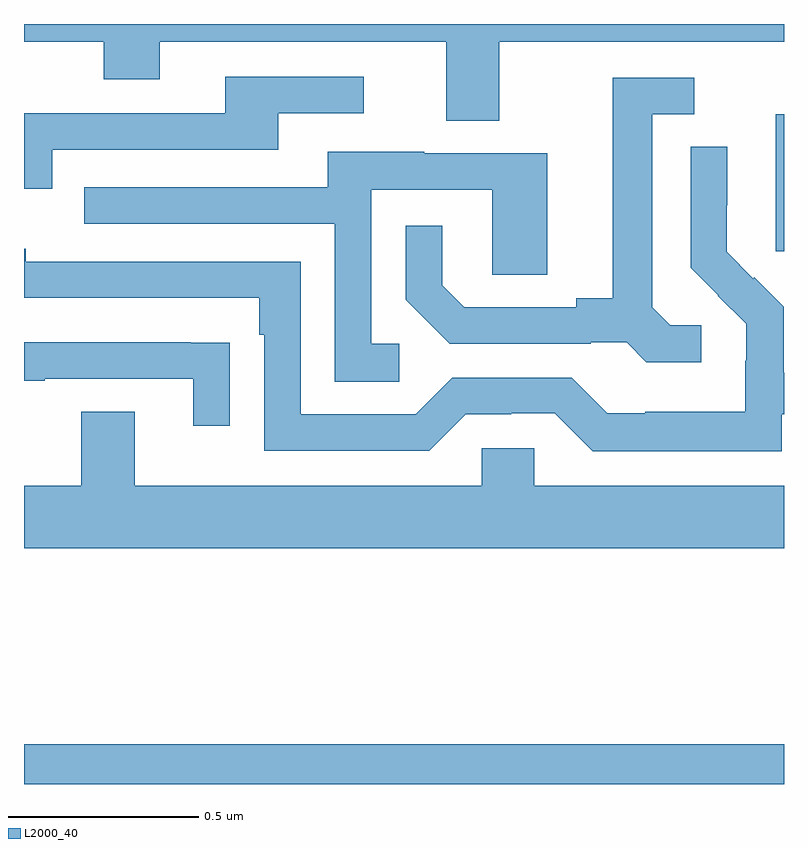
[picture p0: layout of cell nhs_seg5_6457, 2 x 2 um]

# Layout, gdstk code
import gdstk
lib = gdstk.Library(unit=1e-6, precision=1e-09)
def R(c, l, rs):  # rectangles x0, y0, x1, y1
    for r in rs: c.add(gdstk.rectangle(r[:2], r[2:], *l))
def P(c, l, *ps):  # polygons
    for p in ps: c.add(gdstk.Polygon(p, *l))
L2000_40 = (2000, 40)

nhs_seg5_6457 = lib.new_cell('nhs_seg5_6457')
R(nhs_seg5_6457, L2000_40, [(196,862.799,198,862.904), (197.978,864.201,198,864.562)])
P(nhs_seg5_6457, L2000_40, [(197.251,864.752),(198,864.752),(198,864.799),(196,864.799),(196,864.752),(196.21,864.752),(196.21,864.653),(196.357,864.653),(196.357,864.752),(197.111,864.752),(197.111,864.544),(197.251,864.544)],
  [(196.074,864.468),(196.669,864.468),(196.669,864.564),(196.894,864.564),(196.894,864.66),(196.529,864.66),(196.529,864.564),(196,864.564),(196,864.365),(196.074,864.365)],
  [(197.782,864.006),(197.7,864.006),(197.653,864.053),(197.653,864.561),(197.764,864.561),(197.764,864.657),(197.549,864.657),(197.549,864.077),(197.453,864.077),(197.453,864.054),(197.158,864.054),(197.101,864.111),(197.101,864.268),(197.004,864.268),(197.004,864.074),(197.12,863.958),(197.492,863.958),(197.492,863.961),(197.586,863.961),(197.638,863.909),(197.782,863.909)],
  [(197.994,863.772),(198,863.772),(198,863.881),(197.999,863.881),(197.999,864.055),(197.922,864.132),(197.919,864.129),(197.849,864.2),(197.849,864.322),(197.85,864.322),(197.85,864.476),(197.754,864.476),(197.754,864.158),(197.827,864.085),(197.826,864.084),(197.9,864.01),(197.9,863.913),(197.898,863.913),(197.898,863.779),(197.635,863.779),(197.635,863.775),(197.535,863.775),(197.442,863.868),(197.127,863.868),(197.031,863.772),(196.728,863.772),(196.728,864.174),(196.004,864.174),(196.004,864.208),(196,864.208),(196,864.078),(196.619,864.078),(196.619,863.981),(196.632,863.981),(196.632,863.676),(197.067,863.676),(197.163,863.772),(197.282,863.772),(197.282,863.775),(197.397,863.775),(197.497,863.675),(197.994,863.675)],
  [(196.987,863.958),(196.914,863.958),(196.914,864.363),(197.232,864.363),(197.232,864.139),(197.377,864.139),(197.377,864.459),(197.053,864.459),(197.053,864.463),(196.799,864.463),(196.799,864.369),(196.159,864.369),(196.159,864.273),(196.818,864.273),(196.818,863.857),(196.987,863.857)],
  [(196.541,863.96),(196.439,863.96),(196.439,863.961),(196,863.961),(196,863.86),(196.055,863.86),(196.055,863.865),(196.445,863.865),(196.445,863.742),(196.541,863.742)],
  [(198,863.584),(197.343,863.584),(197.343,863.682),(197.205,863.682),(197.205,863.584),(196.291,863.584),(196.291,863.779),(196.151,863.779),(196.151,863.584),(196,863.584),(196,863.42),(198,863.42)])

lib.write_gds('nhs_seg5_6457.gds')
